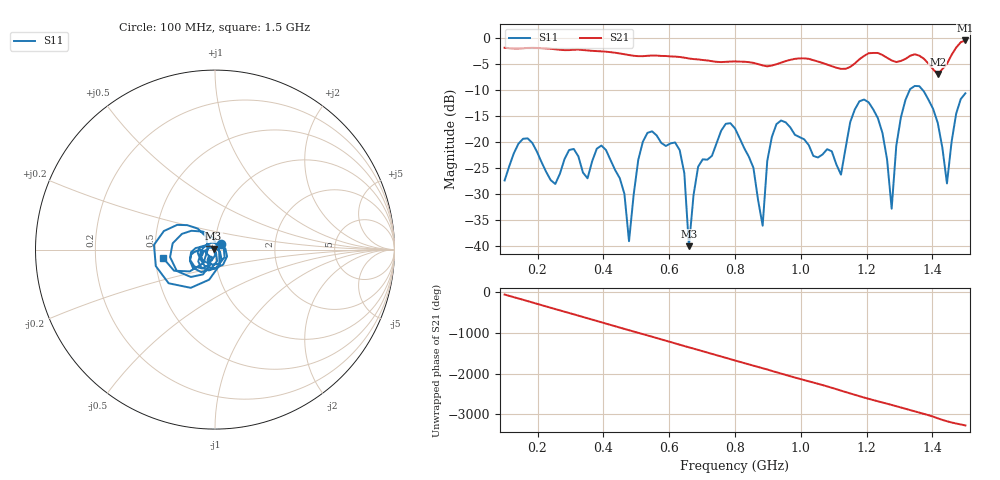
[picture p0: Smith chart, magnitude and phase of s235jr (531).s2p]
! NanoVNA-App
! Date: 2025-09-25 15:08:18
! Start: 100MHz Stop: 1,5GHz Points: 101
! S-Parameter data: F S11 S21 S12 S22
# Hz S RI R 50
!  Frequency  S11_Real  S11_Imag  S21_Real  S21_Imag  S12_Real  S12_Imag  S22_Real  S22_Imag
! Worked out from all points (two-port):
!   101 points, 100 MHz to 1.5 GHz, reference 50 ohm
!   highest |S21| = -0.56 dB at 1.5 GHz (marker M1); lowest = -7.0 dB at 1.416 GHz (marker M2)
!   |S21| within 3 dB of the highest: start of sweep to 502.4 MHz; 524.3 MHz to 592.2 MHz (67.91 MHz wide, 12.2 % of centre) (the widest 2 of 5)
!   lowest |S11| = -40.1 dB at 660 MHz (marker M3), VSWR 1.02, Z = 49.2 + j0.539 ohm
!   |S11| at or under -10 dB: start of sweep to 1.331 GHz; 1.369 GHz to end of sweep
!   S12 and S22 are empty: the file has one direction only
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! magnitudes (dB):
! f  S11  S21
! 100 MHz  -27.5  -2.0
! 156 MHz  -19.5  -2.0
! 338 MHz  -25.9  -2.4
! 408 MHz  -21.6  -2.7
! 478 MHz  -39.1  -3.4
! 520 MHz  -20.0  -3.6
! 576 MHz  -20.3  -3.5
! 632 MHz  -21.7  -3.7
! 660 MHz  -40.1  -4.0
! 688 MHz  -24.8  -4.2
! 800 MHz  -17.5  -4.6
! 884 MHz  -36.2  -5.4
! 926 MHz  -16.6  -5.1
! 1.038 GHz  -22.8  -4.4
! 1.122 GHz  -26.4  -6.0
! 1.206 GHz  -12.4  -3.0
! 1.248 GHz  -18.3  -3.4
! 1.276 GHz  -32.9  -4.4
! 1.332 GHz  -9.9  -3.5
! 1.416 GHz  -16.4  -7.0
! 1.444 GHz  -28.0  -5.1
! 1.5 GHz  -10.7  -0.6
